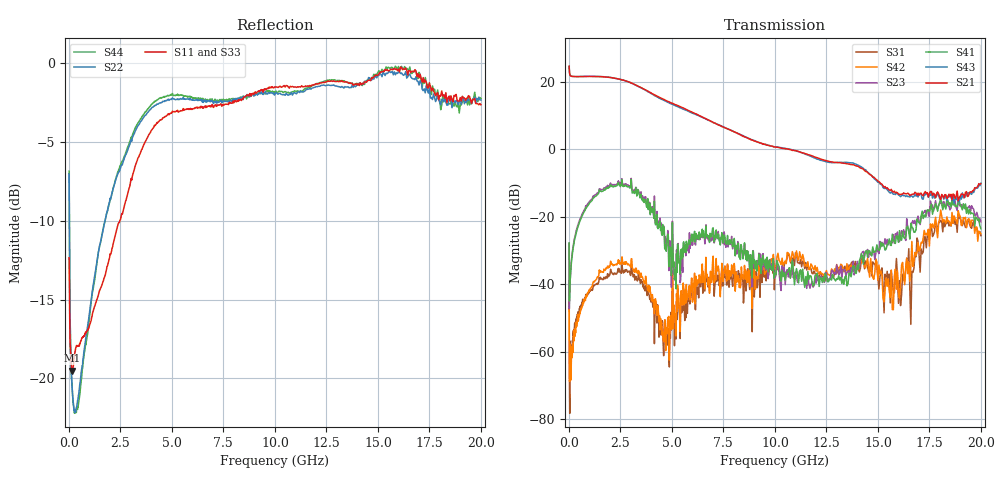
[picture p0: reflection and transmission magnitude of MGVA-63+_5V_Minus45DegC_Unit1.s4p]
!Mini-Circuits Laboratory
!S-Parameters
!Model: MGVA-63+
!Run / Lot / Date Code: NA / AH404P001-04 / 1348
!Fixture: NA; TB-561+
!AUTO PORT EXTENSION DONE: PORT<1>=113.62ps; PORT<2>=112.79ps; PORT<3>=112.29ps; PORT<4>=112.3ps
!Network Analyzer: PNA-X N5242A - 423 4 ports;  Serial number: 71256
!Date: 2/10/20114
!S/N: Unit# 1
!Correction: S11(Full 4 Port(1,2,3,4))
!S12(Full 4 Port(1,2,3,4))
!S13(Full 4 Port(1,2,3,4))
!S14(Full 4 Port(1,2,3,4))
!S21(Full 4 Port(1,2,3,4))
!S22(Full 4 Port(1,2,3,4))
!S23(Full 4 Port(1,2,3,4))
!S24(Full 4 Port(1,2,3,4))
!S31(Full 4 Port(1,2,3,4))
!S32(Full 4 Port(1,2,3,4))
!S33(Full 4 Port(1,2,3,4))
!S34(Full 4 Port(1,2,3,4))
!S41(Full 4 Port(1,2,3,4))
!S42(Full 4 Port(1,2,3,4))
!S43(Full 4 Port(1,2,3,4))
!S44(Full 4 Port(1,2,3,4))
!S4P File: Measurements: <S11,S12,S13,S14>,
!<S21,S22,S23,S24>,
!<S31,S32,S33,S34>,
!<S41,S42,S43,S44>:
# Hz S  dB  R 50
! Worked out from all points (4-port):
!   660 points, 10 MHz to 20 GHz, reference 50 ohm
!   strongest paths, dB at 10 MHz, 2.65 GHz, 6.775 GHz, 11.8 GHz, 20 GHz:
!     S21: 24.6, 20.5, 8.7, -2.0, -10.2
!     S43: 24.5, 20.5, 8.6, -2.3, -10.1
!     S41: -27.7, -11.0, -25.7, -39.0, -23.5
!     S23: -27.8, -10.6, -26.9, -39.3, -21.5
!     S42: -38.9, -34.0, -39.1, -34.5, -25.1
!     S31: -40.3, -36.7, -39.7, -36.7, -25.6
!   lowest |S11| = -19.5 dB at 160 MHz (marker M1), VSWR 1.24, Z = 40.6 - j1.57 ohm
!   |S11| at or under -10 dB: start of sweep to 2.471 GHz
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1e7  -12.35 -51.2  -27.91 28.9  -38.58 123.7  -45.87 128.3
     24.61 168.8  -7.04 -28.6  -27.79 132.3  -35.48 141.6
     -40.34 127.2  -51.15 89.4  -11.65 -49.0  -28.02 25.9
     -27.74 132.7  -38.87 102.0  24.54 168.4  -6.86 -29.8
1.6e8  -19.52 -169.6  -24.61 0.3  -56.15 85.5  -74.76 8.3
       21.57 169.8  -20.71 -54.2  -30.74 71.9  -58.75 82.8
       -58.79 77.5  -67.47 -90.5  -19.51 -168.7  -24.66 0.3
       -31.31 72.7  -61.71 73.5  21.58 170.0  -20.69 -53.6
1.775e9  -13.39 125.9  -23.65 -30.9  -37.93 37.9  -62.03 89.5
         21.43 98.0  -9.87 164.6  -11.47 -34.0  -35.34 46.4
         -38.16 44.7  -61.18 77.2  -13.03 127.4  -23.72 -31.7
         -11.81 -30.1  -35.69 53.6  21.44 97.2  -9.90 162.1
3.15e9  -6.86 87.8  -23.77 -68.1  -36.83 -35.4  -53.10 54.4
        19.31 28.9  -4.53 90.3  -12.11 -147.1  -35.04 -42.6
        -37.41 -29.0  -55.23 52.1  -6.66 84.0  -23.83 -70.0
        -12.60 -142.5  -36.28 -36.0  19.26 26.8  -4.34 89.5
5.375e9  -3.07 37.9  -26.90 -112.1  -47.62 -110.0  -56.16 -14.4
         12.67 -55.1  -2.33 27.8  -33.15 -108.5  -47.18 -96.0
         -49.91 -83.4  -59.55 -13.2  -2.86 29.4  -27.53 -114.0
         -33.25 -93.2  -47.00 -63.4  12.31 -56.6  -2.04 32.5
8.1e9  -2.46 11.7  -29.60 -135.6  -35.90 -128.6  -40.33 -61.5
       4.96 -133.9  -2.32 0.7  -28.44 112.1  -36.85 -141.6
       -37.82 -122.9  -41.68 -80.1  -2.53 1.6  -30.05 -137.1
       -29.13 121.0  -37.78 -142.8  4.94 -136.3  -2.33 5.8
2e10  -2.65 -100.6  -35.52 -138.8  -25.18 -29.7  -20.67 -166.1
      -10.21 15.5  -2.36 -115.4  -21.48 -179.4  -26.23 -43.7
      -25.59 -37.1  -19.00 -178.5  -2.80 -117.3  -27.81 -63.5
      -23.54 -165.4  -25.05 -36.6  -10.08 6.7  -2.25 -109.1
